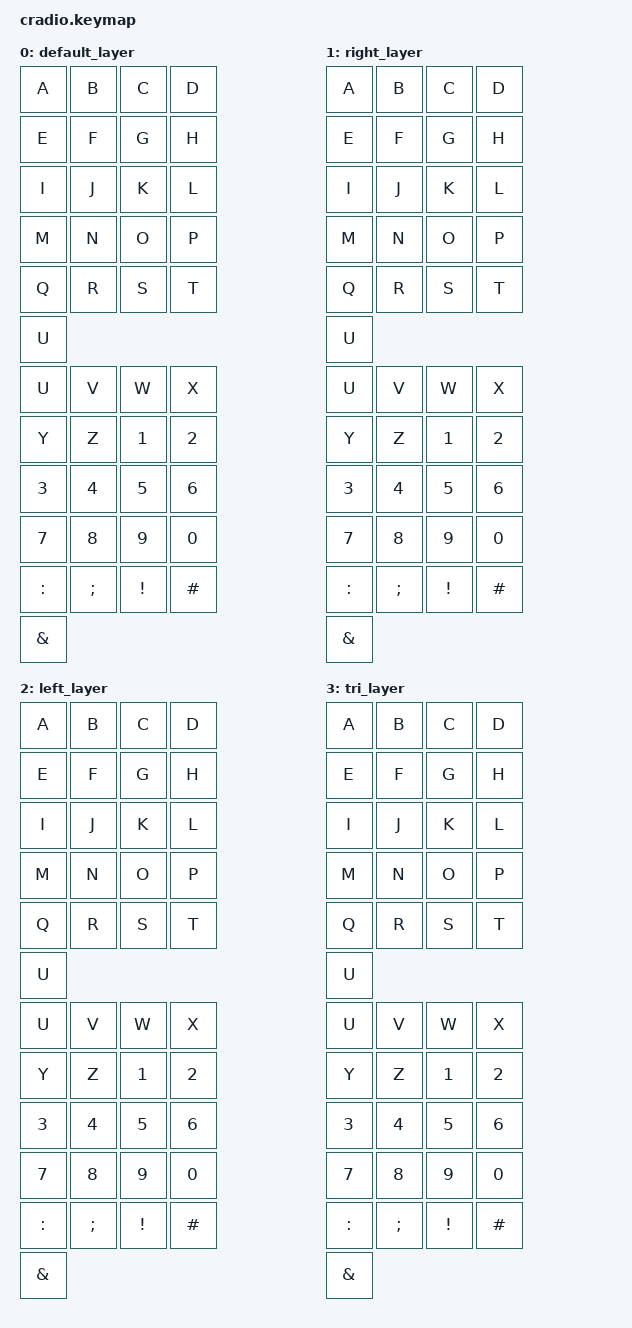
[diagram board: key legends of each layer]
// Copyright (c) 2022 The ZMK Contributors
// SPDX-License-Identifier: MIT

#include <behaviors.dtsi>
#include <dt-bindings/zmk/keys.h>
#include <dt-bindings/zmk/bt.h>


/ {
    behaviors {
        ht: hold_tap {
            compatible = "zmk,behavior-hold-tap";
            #binding-cells = <2>;
            flavor = "tap-preferred";
            tapping-term-ms = <220>;
            quick-tap-ms = <150>;
            require-prior-idle-ms = <100>;
            bindings = <&kp>, <&kp>;
        };
    };

    conditional_layers {
        compatible = "zmk,conditional-layers";
        tri_layer {
            if-layers = <1 2>;
            then-layer = <3>;
        };
    };

    keymap {
        compatible = "zmk,keymap";
        default_layer {
            bindings = <

            &kp A      &kp B      &kp C      &kp D      
            &kp E      &kp F      &kp G      &kp H   
            &kp I      &kp J      &kp K      &kp L 
            &kp M      &kp N      &kp O      &kp P      
            &kp Q      &kp R      &kp S      &kp T  
            &kp U    
            &kp U      &kp V      &kp W      &kp X
            &kp Y      &kp Z      &kp 1      &kp 2      
            &kp 3      &kp 4      &kp 5      &kp 6   
            &kp 7      &kp 8      &kp 9      &kp 0 
            &kp COLON      &kp SEMI      &kp EXCL      &kp HASH      
            &kp AMPS                                             
            >;
        };

        right_layer {
            bindings = <
            
            &kp A      &kp B      &kp C      &kp D      
            &kp E      &kp F      &kp G      &kp H   
            &kp I      &kp J      &kp K      &kp L 
            &kp M      &kp N      &kp O      &kp P      
            &kp Q      &kp R      &kp S      &kp T  
            &kp U    
            &kp U      &kp V      &kp W      &kp X
            &kp Y      &kp Z      &kp 1      &kp 2      
            &kp 3      &kp 4      &kp 5      &kp 6   
            &kp 7      &kp 8      &kp 9      &kp 0 
            &kp COLON      &kp SEMI      &kp EXCL      &kp HASH      
            &kp AMPS 
            >;
        };

        left_layer {
            bindings = <
            
            &kp A      &kp B      &kp C      &kp D      
            &kp E      &kp F      &kp G      &kp H   
            &kp I      &kp J      &kp K      &kp L 
            &kp M      &kp N      &kp O      &kp P      
            &kp Q      &kp R      &kp S      &kp T  
            &kp U    
            &kp U      &kp V      &kp W      &kp X
            &kp Y      &kp Z      &kp 1      &kp 2      
            &kp 3      &kp 4      &kp 5      &kp 6   
            &kp 7      &kp 8      &kp 9      &kp 0 
            &kp COLON      &kp SEMI      &kp EXCL      &kp HASH      
            &kp AMPS 
            >;
        };

        tri_layer {
           bindings = <
            
            &kp A      &kp B      &kp C      &kp D      
            &kp E      &kp F      &kp G      &kp H   
            &kp I      &kp J      &kp K      &kp L 
            &kp M      &kp N      &kp O      &kp P      
            &kp Q      &kp R      &kp S      &kp T  
            &kp U    
            &kp U      &kp V      &kp W      &kp X
            &kp Y      &kp Z      &kp 1      &kp 2      
            &kp 3      &kp 4      &kp 5      &kp 6   
            &kp 7      &kp 8      &kp 9      &kp 0 
            &kp COLON      &kp SEMI      &kp EXCL      &kp HASH      
            &kp AMPS 
            >;
        };
    };
};
